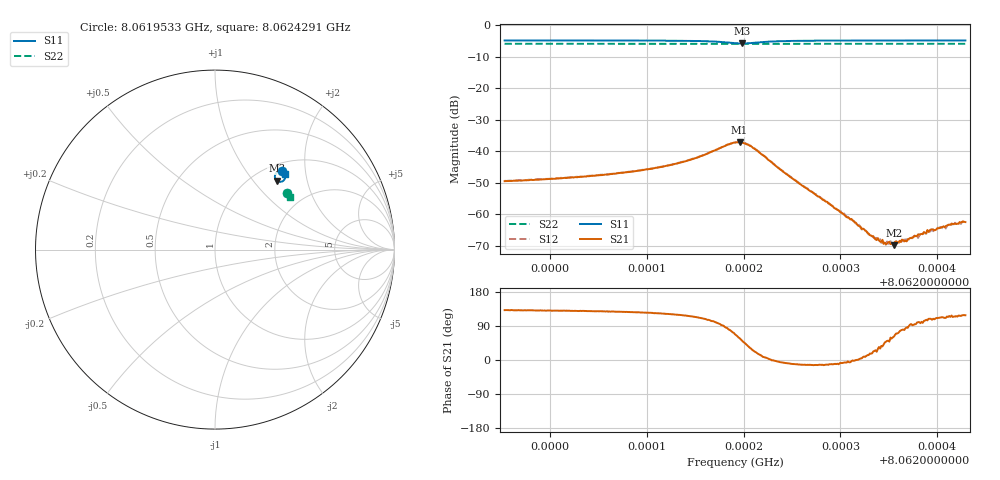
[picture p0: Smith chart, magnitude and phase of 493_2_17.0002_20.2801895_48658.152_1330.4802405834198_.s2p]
#  HZ  S  RI  R  50.00
! Rohde & Schwarz Vector Network Analyzer
! Rohde-Schwarz,ZNB20-2Port,1311601062101988,3.16
! Created: UTC 3/20/2024, 11:14:10 PM
! freq[Hz]  re:S11  im:S11  re:S21  im:S21  re:S12  im:S12  re:S22  im:S22
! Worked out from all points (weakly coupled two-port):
!   401 points, 8.0619533 GHz to 8.0624291 GHz, reference 50 ohm
!   highest |S21| = -37.13 dB at 8.062196 GHz (marker M1); lowest = -69.7 dB at 8.0623553 GHz (marker M2)
!   lowest |S11| = -5.8 dB at 8.0621983 GHz (marker M3), VSWR 3.13, Z = 63.5 + j66.4 ohm
!   |S11| at or under -10 dB: nowhere
!   |S22| runs from -5.9 to -5.8 dB; largest |S21 - S12| = 0.00097
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8.06195332e9  0.3739 0.4383  -0.00223 0.00251  -0.00209 0.00268  0.4021 0.314
8.06203301e9  0.3801 0.4323  -0.0025 0.00305  -0.00234 0.00319  0.4051 0.31
8.0621127e9  0.3879 0.4218  -0.00305 0.00466  -0.00274 0.0049  0.4081 0.3059
8.06215195e9  0.3915 0.408  -0.00305 0.00732  -0.00265 0.00754  0.4095 0.3032
8.0621912e9  0.36 0.3775  0.00518 0.0127  0.0059 0.0126  0.4089 0.3006
8.06219596e9  0.3488 0.3808  0.00746 0.0117  0.00816 0.0113  0.4085 0.3004
8.06219834e9  0.3437 0.3844  0.00861 0.0108  0.00925 0.0103  0.4085 0.3006
8.06221023e9  0.3337 0.4095  0.0102 0.00467  0.0105 0.00419  0.4088 0.3014
8.06223996e9  0.3566 0.435  0.00484 -0.000543  0.00487 -0.00088  0.4111 0.3007
8.06227089e9  0.3702 0.4349  0.0022 -0.000514  0.00217 -0.000647  0.4128 0.299
8.06231371e9  0.3792 0.4312  0.000776 -2.73e-05  0.00078 -7.23e-05  0.4145 0.2967
8.06233511e9  0.3821 0.4298  0.000382 0.000167  0.000403 0.000125  0.4154 0.2956
8.06234463e9  0.3832 0.4291  0.000255 0.000222  0.000301 0.00021  0.4157 0.2951
8.06235058e9  0.3838 0.4285  0.00024 0.000273  0.000219 0.000287  0.4159 0.2948
8.06235533e9  0.3843 0.4282  0.000153 0.000287  0.000154 0.000284  0.4162 0.2944
8.06236842e9  0.3857 0.4273  2.63e-05 0.00037  1.32e-05 0.0004  0.4165 0.294
8.06237436e9  0.3862 0.427  -1.36e-05 0.000422  -9.46e-06 0.000415  0.4169 0.2935
8.06238031e9  0.3866 0.4266  -8.06e-05 0.000473  -4.53e-05 0.000417  0.417 0.2931
8.0623922e9  0.3877 0.4258  -0.000177 0.000527  -0.000137 0.000509  0.4174 0.2925
8.06239934e9  0.3884 0.4254  -0.000207 0.000541  -0.000176 0.000592  0.4176 0.2922
8.06241361e9  0.3896 0.4243  -0.000276 0.00062  -0.000249 0.000616  0.4183 0.2915
8.06242908e9  0.3907 0.4235  -0.000354 0.000663  -0.000319 0.000694  0.4187 0.2906
